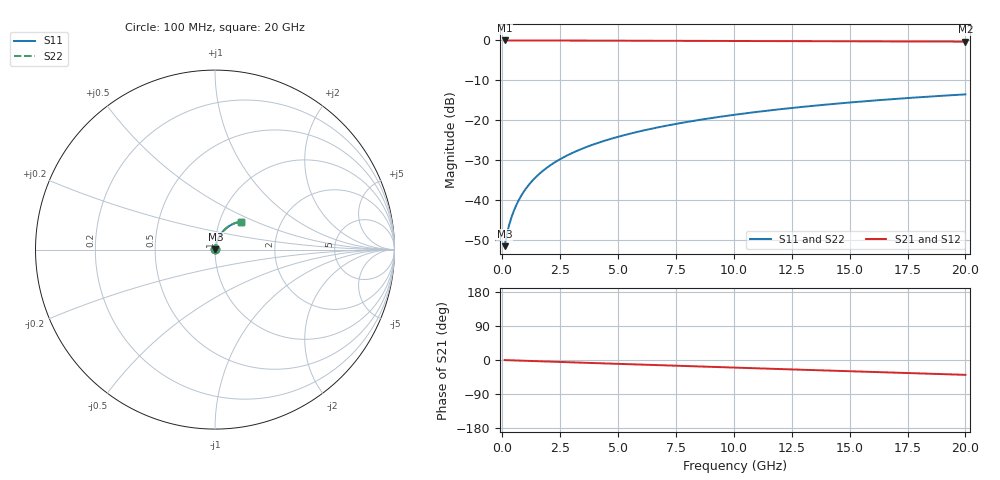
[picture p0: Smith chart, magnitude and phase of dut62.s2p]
! Touchstone file exported from HFSS 2026.1.0
!  File:  C:/ffzhzh/LocalFiles/Ansys_Project_Files/temp_train_TMRDL_62_1782881057_46784.aedt
!  Generated:  12:45:28 PM Jul  1, 2026
!  Design:  TMRDL
!  Project:  temp_train_TMRDL_62_1782881057_46784
! Variables:
!  h_bsmrdl = 2um
!  h_ox = 20um
!  h_rdl = 5um
!  h_sub = 80um
!  h_tmrdl = 5.98um
!  h_tsv = 80um
!  h_via = 3um
!  l_bsmrdl = 300um
!  l_sub = 1063.23um
!  l_tmrdl = 663.23um
!  m_sub = 200um
!  pitch = 33.61um
!  r_tsv = 6um
!  s_tmrdl = 10um
!  w_bsmrdl = 18um
!  w_sub = 500um
!  w_tmrdl = 20.44um
!  x_tsv_center1 = 673.45um
!  x_tsv_center2 = 991.45um
!  x_tsv_center3 = 1675.12um
!  x_tsv_center4 = 1993.12um
!  x_tsv_center5 = 2676.79um
!  x_tsv_center6 = 2994.79um
# GHz S MA R 50.000000
! Terminal data exported
! Port[1] = TM_RDL1_1_T1
! Port[2] = TM_RDL1_1_T2
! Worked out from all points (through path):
!   200 points, 100 MHz to 20 GHz, reference 50 ohm
!   highest |S21| = -0.02 dB at 100 MHz (marker M1); lowest = -0.3 dB at 20 GHz (marker M2)
!   group delay of S21, straight-line fit = 5.42 ps
!   lowest |S11| = -51.5 dB at 100 MHz (marker M3), VSWR 1.01, Z = 50.2 + j0.159 ohm
!   |S11| at or under -10 dB: start of sweep to end of sweep
!   |S22| runs from -51.5 to -13.5 dB; largest |S21 - S12| = 2.6e-15
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0.1  0.002647 36.6  0.9979 -0.2  0.9979 -0.2  0.002647 36.6
! Gamma 0 0 0 0
! Port Impedance 50 0 50 0
0.2  0.003775 51.6  0.9977 -0.4  0.9977 -0.4  0.003775 51.6
0.3  0.004935 59.5  0.9975 -0.6  0.9975 -0.6  0.004935 59.5
0.4  0.006122 64.5  0.9974 -0.8  0.9974 -0.8  0.006122 64.5
0.5  0.007339 68.0  0.9974 -1.1  0.9974 -1.1  0.007339 68.0
0.6  0.00858 70.5  0.9973 -1.3  0.9973 -1.3  0.00858 70.5
0.8  0.0111 73.7  0.9971 -1.7  0.9971 -1.7  0.0111 73.7
1.1  0.01494 76.1  0.9969 -2.3  0.9969 -2.3  0.01494 76.1
1.3  0.0175 76.9  0.9967 -2.7  0.9967 -2.7  0.0175 76.9
1.6  0.02132 77.5  0.9964 -3.3  0.9964 -3.3  0.02132 77.5
2.1  0.02761 77.6  0.9957 -4.4  0.9957 -4.4  0.02761 77.6
2.7  0.03501 77.1  0.9949 -5.6  0.9949 -5.6  0.03501 77.1
3.5  0.04461 76.0  0.9937 -7.2  0.9937 -7.2  0.04461 76.0
4.2  0.05283 75.0  0.9927 -8.6  0.9927 -8.6  0.05283 75.0
5  0.06204 73.7  0.9915 -10.2  0.9915 -10.2  0.06204 73.7
5.9  0.07223 72.3  0.9901 -12.0  0.9901 -12.0  0.07223 72.3
6.8  0.08227 70.8  0.9888 -13.7  0.9888 -13.7  0.08226 70.8
8.3  0.09867 68.3  0.9864 -16.7  0.9864 -16.7  0.09867 68.3
10.1  0.1178 65.2  0.9835 -20.2  0.9835 -20.2  0.1178 65.2
13.4  0.1513 59.3  0.9776 -26.6  0.9776 -26.6  0.1513 59.3
16.7  0.1824 53.4  0.9713 -32.9  0.9713 -32.9  0.1824 53.4
20  0.2108 47.5  0.9647 -39.2  0.9647 -39.2  0.2108 47.5
